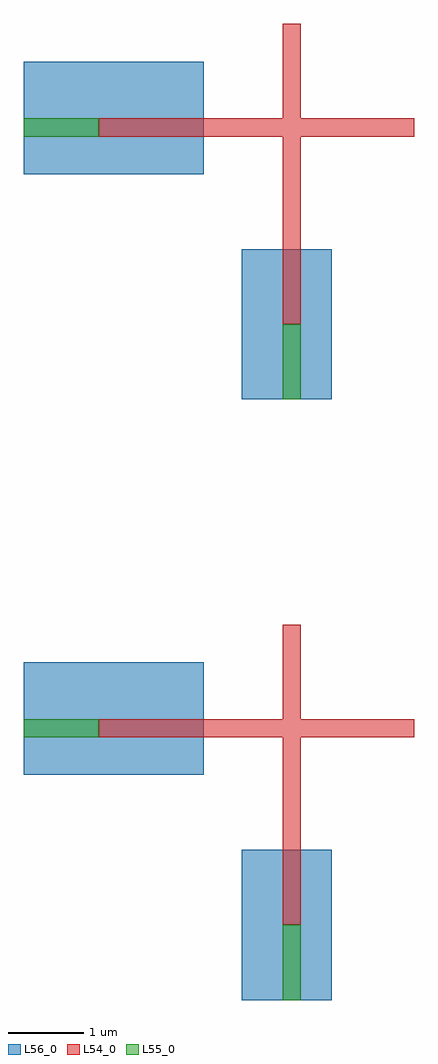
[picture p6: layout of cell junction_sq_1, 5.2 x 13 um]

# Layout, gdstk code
import gdstk
lib = gdstk.Library(unit=1e-6, precision=1e-09)
def R(c, l, rs):  # rectangles x0, y0, x1, y1
    for r in rs: c.add(gdstk.rectangle(r[:2], r[2:], *l))
L54_0 = (54, 0)
L55_0 = (55, 0)
L56_0 = (56, 0)

junction_sq_1 = lib.new_cell('junction_sq_1')
R(junction_sq_1, L54_0, [(1.45,-5,1.692,-1), (-1,-2.5,3.2,-2.258), (1.45,3,1.692,7), (-1,5.5,3.2,5.742)])
R(junction_sq_1, L55_0, [(1.45,-6,1.692,-5), (-2,-2.5,-1,-2.258), (1.45,2,1.692,3), (-2,5.5,-1,5.742)])
R(junction_sq_1, L56_0, [(0.9,-6,2.1,-4), (-2,-3,0.4,-1.5), (0.9,2,2.1,4), (-2,5,0.4,6.5)])

lib.write_gds('junction_sq_1.gds')
